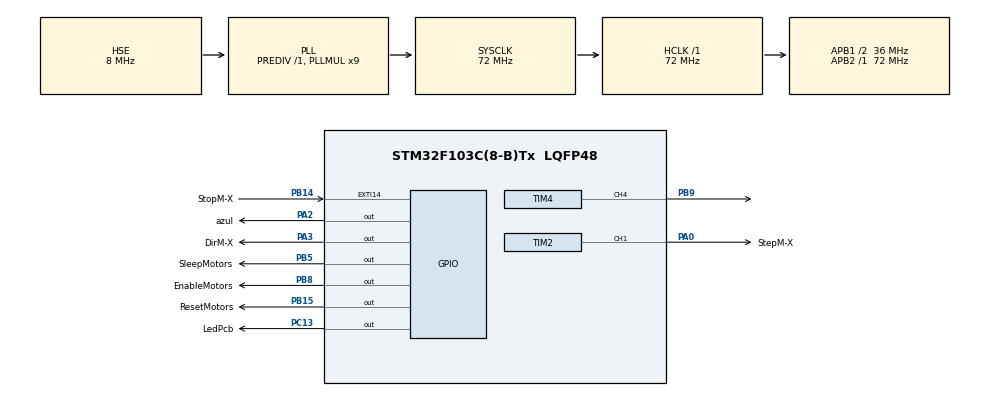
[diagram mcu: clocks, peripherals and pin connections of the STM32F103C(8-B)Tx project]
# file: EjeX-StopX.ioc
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Mcu.Family=STM32F1
Mcu.Name=STM32F103C(8-B)Tx
Mcu.Package=LQFP48
NVIC.EXTI15_10_IRQn=true\:0\:0\:false\:false\:true\:true\:true\:true
NVIC.PriorityGroup=NVIC_PRIORITYGROUP_4
NVIC.TIM2_IRQn=true\:0\:0\:false\:false\:true\:true\:true\:true
NVIC.TIM3_IRQn=true\:0\:0\:false\:false\:true\:true\:true\:true
PA0-WKUP.GPIO_Label=StepM-X
PA0-WKUP.Signal=S_TIM2_CH1_ETR
PA13.Mode=Serial_Wire
PA13.Signal=SYS_JTMS-SWDIO
PA14.Mode=Serial_Wire
PA14.Signal=SYS_JTCK-SWCLK
PA2.GPIO_Label=azul
PA2.Signal=GPIO_Output
PA3.GPIO_Label=DirM-X
PA3.Signal=GPIO_Output
PB14.GPIO_Label=StopM-X
PB14.Signal=GPXTI14
PB15.GPIO_Label=ResetMotors
PB15.Signal=GPIO_Output
PB5.GPIO_Label=SleepMotors
PB5.Signal=GPIO_Output
PB8.GPIO_Label=EnableMotors
PB8.Signal=GPIO_Output
PB9.Signal=S_TIM4_CH4
PC13-TAMPER-RTC.GPIO_Label=LedPcb
PC13-TAMPER-RTC.Signal=GPIO_Output
PC14-OSC32_IN.Mode=LSE-External-Oscillator
PC14-OSC32_IN.Signal=RCC_OSC32_IN
PC15-OSC32_OUT.Mode=LSE-External-Oscillator
PC15-OSC32_OUT.Signal=RCC_OSC32_OUT
PD0-OSC_IN.Mode=HSE-External-Oscillator
PD0-OSC_IN.Signal=RCC_OSC_IN
PD1-OSC_OUT.Mode=HSE-External-Oscillator
PD1-OSC_OUT.Signal=RCC_OSC_OUT
ProjectManager.HeapSize=0x200
ProjectManager.StackSize=0x400
ProjectManager.TargetToolchain=STM32CubeIDE
RCC.AHBFreq_Value=72000000
RCC.APB1CLKDivider=RCC_HCLK_DIV2
RCC.APB1Freq_Value=36000000
RCC.APB1TimFreq_Value=72000000
RCC.APB2Freq_Value=72000000
RCC.APB2TimFreq_Value=72000000
RCC.HCLKFreq_Value=72000000
RCC.PLLMUL=RCC_PLL_MUL9
RCC.PLLSourceVirtual=RCC_PLLSOURCE_HSE
RCC.SYSCLKFreq_VALUE=72000000
RCC.SYSCLKSource=RCC_SYSCLKSOURCE_PLLCLK
RCC.USBFreq_Value=72000000
SH.S_TIM2_CH1_ETR.0=TIM2_CH1,PWM Generation1 CH1
SH.S_TIM4_CH4.0=TIM4_CH4,PWM Generation4 CH4
TIM2.AutoReloadPreload=TIM_AUTORELOAD_PRELOAD_ENABLE
TIM2.Channel-PWM\ Generation1\ CH1=TIM_CHANNEL_1
TIM2.OC1Preload_PWM=DISABLE
TIM2.OCMode_PWM-PWM\ Generation1\ CH1=TIM_OCMODE_PWM1
TIM2.Period=10000
TIM2.Prescaler=71
TIM2.Pulse-PWM\ Generation1\ CH1=5000
TIM3.Period=2000
TIM3.Prescaler=35999
TIM4.Channel-PWM\ Generation4\ CH4=TIM_CHANNEL_4
TIM4.Period=9999
TIM4.Prescaler=71
TIM4.Pulse-PWM\ Generation4\ CH4=5000
VP_TIM2_VS_ClockSourceINT.Mode=Internal
VP_TIM3_VS_ClockSourceINT.Mode=Internal
VP_TIM4_VS_ClockSourceINT.Mode=Internal
board=custom

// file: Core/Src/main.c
/* USER CODE BEGIN Header */
/**
  ******************************************************************************
  * @file           : main.c
  * @brief          : Main program body
  ******************************************************************************
  * @attention
  *
  * Copyright (c) 2023 STMicroelectronics.
  * All rights reserved.
  *
  * This software is licensed under terms that can be found in the LICENSE file
  * in the root directory of this software component.
  * If no LICENSE file comes with this software, it is provided AS-IS.
  *
  ******************************************************************************
  */
/* USER CODE END Header */
#include "main.h"

TIM_HandleTypeDef htim2;
TIM_HandleTypeDef htim3;
TIM_HandleTypeDef htim4;

/* USER CODE BEGIN PV */

uint32_t velMotor1 = 0;
uint16_t thetaMotor1 = 0;
// uint32_t adcVal;					// Arreglo para guardar los valores leidos del conversor ADC
uint32_t counter = 0;

/* USER CODE END PV */

void SystemClock_Config(void);
static void MX_GPIO_Init(void);
static void MX_TIM2_Init(void);
static void MX_TIM3_Init(void);
static void MX_TIM4_Init(void);
/* USER CODE BEGIN PFP */

// void HAL_TIM_PeriodElapsedCallback(TIM_HandleTypeDef *htim);		// Función para el manejo de interrupciones del Timer 2
// void EXTI9_5_IRQHandler(void);		// Función para manejo de la interrupciones externas por fin de carrera
// void HAL_ADC_ConvCpltCallback(ADC_HandleTypeDef *hadc);

/* USER CODE END PFP */

int main(void)
{

  /* MCU Configuration--------------------------------------------------------*/

  /* Reset of all peripherals, Initializes the Flash interface and the Systick. */
  HAL_Init();

  /* Configure the system clock */
  SystemClock_Config();

  /* Initialize all configured peripherals */
  MX_GPIO_Init();
  MX_TIM2_Init();
  MX_TIM3_Init();
  MX_TIM4_Init();
  /* USER CODE BEGIN 2 */

  HAL_TIM_Base_Start_IT(&htim3);
  HAL_TIM_PWM_Start(&htim2, TIM_OCMODE_PWM1);
  HAL_TIM_Base_Start(&htim2);			// Iniciar el temporizador con interrupción

  TIM2->ARR = 15000;
  TIM2->CCR1 = 7500;

  TIM4->ARR = 9999;
  TIM4->CCR4 = 5000;

  HAL_TIM_PWM_Start(&htim4, TIM_CHANNEL_4);
  HAL_TIM_Base_Start_IT(&htim4);			// Iniciar el temporizador con interrupción

  HAL_Delay(1000);

  /* USER CODE END 2 */

  /* Infinite loop */
  /* USER CODE BEGIN WHILE */
  while (1)
  {
	  int miCcr = 0;  // Inicializamos el valor del CCR1 en 0
	  HAL_TIM_PWM_Start(&htim2, TIM_CHANNEL_1);  // Iniciamos la generación de PWM en el canal 1
	  HAL_TIM_PWM_Start(&htim4, TIM_CHANNEL_4);
	  for (int var = 0; var <= 100; var = var + 10)
	  {
	    miCcr = (10000 * var) / 100;
	    TIM4->CCR4 = miCcr;
	    TIM2->CCR1 = miCcr;
	    HAL_Delay(1000);
	  }
	    TIM4->CCR4 = 0;
	    TIM2->CCR1 = 0;
	  HAL_TIM_PWM_Stop(&htim2, TIM_CHANNEL_1);  // Detenemos la generación de PWM en el canal 1
	  HAL_TIM_PWM_Stop(&htim4, TIM_CHANNEL_4);
	  HAL_GPIO_TogglePin(DirM_X_GPIO_Port, DirM_X_Pin);
	  HAL_Delay(1000);
    /* USER CODE END WHILE */

  }
}

void SystemClock_Config(void)
{
  RCC_OscInitTypeDef RCC_OscInitStruct = {0};
  RCC_ClkInitTypeDef RCC_ClkInitStruct = {0};

  /** Initializes the RCC Oscillators according to the specified parameters
  * in the RCC_OscInitTypeDef structure.
  */
  RCC_OscInitStruct.OscillatorType = RCC_OSCILLATORTYPE_HSE;
  RCC_OscInitStruct.HSEState = RCC_HSE_ON;
  RCC_OscInitStruct.HSEPredivValue = RCC_HSE_PREDIV_DIV1;
  RCC_OscInitStruct.HSIState = RCC_HSI_ON;
  RCC_OscInitStruct.PLL.PLLState = RCC_PLL_ON;
  RCC_OscInitStruct.PLL.PLLSource = RCC_PLLSOURCE_HSE;
  RCC_OscInitStruct.PLL.PLLMUL = RCC_PLL_MUL9;
  if (HAL_RCC_OscConfig(&RCC_OscInitStruct) != HAL_OK)
  {
    Error_Handler();
  }

  /** Initializes the CPU, AHB and APB buses clocks
  */
  RCC_ClkInitStruct.ClockType = RCC_CLOCKTYPE_HCLK|RCC_CLOCKTYPE_SYSCLK
                              |RCC_CLOCKTYPE_PCLK1|RCC_CLOCKTYPE_PCLK2;
  RCC_ClkInitStruct.SYSCLKSource = RCC_SYSCLKSOURCE_PLLCLK;
  RCC_ClkInitStruct.AHBCLKDivider = RCC_SYSCLK_DIV1;
  RCC_ClkInitStruct.APB1CLKDivider = RCC_HCLK_DIV2;
  RCC_ClkInitStruct.APB2CLKDivider = RCC_HCLK_DIV1;

  if (HAL_RCC_ClockConfig(&RCC_ClkInitStruct, FLASH_LATENCY_2) != HAL_OK)
  {
    Error_Handler();
  }
}

static void MX_TIM2_Init(void)
{

  TIM_ClockConfigTypeDef sClockSourceConfig = {0};
  TIM_MasterConfigTypeDef sMasterConfig = {0};
  TIM_OC_InitTypeDef sConfigOC = {0};

  htim2.Instance = TIM2;
  htim2.Init.Prescaler = 71;
  htim2.Init.CounterMode = TIM_COUNTERMODE_UP;
  htim2.Init.Period = 10000;
  htim2.Init.ClockDivision = TIM_CLOCKDIVISION_DIV1;
  htim2.Init.AutoReloadPreload = TIM_AUTORELOAD_PRELOAD_ENABLE;
  if (HAL_TIM_Base_Init(&htim2) != HAL_OK)
  {
    Error_Handler();
  }
  sClockSourceConfig.ClockSource = TIM_CLOCKSOURCE_INTERNAL;
  if (HAL_TIM_ConfigClockSource(&htim2, &sClockSourceConfig) != HAL_OK)
  {
    Error_Handler();
  }
  if (HAL_TIM_PWM_Init(&htim2) != HAL_OK)
  {
    Error_Handler();
  }
  sMasterConfig.MasterOutputTrigger = TIM_TRGO_RESET;
  sMasterConfig.MasterSlaveMode = TIM_MASTERSLAVEMODE_DISABLE;
  if (HAL_TIMEx_MasterConfigSynchronization(&htim2, &sMasterConfig) != HAL_OK)
  {
    Error_Handler();
  }
  sConfigOC.OCMode = TIM_OCMODE_PWM1;
  sConfigOC.Pulse = 5000;
  sConfigOC.OCPolarity = TIM_OCPOLARITY_HIGH;
  sConfigOC.OCFastMode = TIM_OCFAST_DISABLE;
  if (HAL_TIM_PWM_ConfigChannel(&htim2, &sConfigOC, TIM_CHANNEL_1) != HAL_OK)
  {
    Error_Handler();
  }
  __HAL_TIM_DISABLE_OCxPRELOAD(&htim2, TIM_CHANNEL_1);
  HAL_TIM_MspPostInit(&htim2);

}

static void MX_TIM3_Init(void)
{

  TIM_ClockConfigTypeDef sClockSourceConfig = {0};
  TIM_MasterConfigTypeDef sMasterConfig = {0};

  htim3.Instance = TIM3;
  htim3.Init.Prescaler = 35999;
  htim3.Init.CounterMode = TIM_COUNTERMODE_UP;
  htim3.Init.Period = 2000;
  htim3.Init.ClockDivision = TIM_CLOCKDIVISION_DIV1;
  htim3.Init.AutoReloadPreload = TIM_AUTORELOAD_PRELOAD_DISABLE;
  if (HAL_TIM_Base_Init(&htim3) != HAL_OK)
  {
    Error_Handler();
  }
  sClockSourceConfig.ClockSource = TIM_CLOCKSOURCE_INTERNAL;
  if (HAL_TIM_ConfigClockSource(&htim3, &sClockSourceConfig) != HAL_OK)
  {
    Error_Handler();
  }
  sMasterConfig.MasterOutputTrigger = TIM_TRGO_RESET;
  sMasterConfig.MasterSlaveMode = TIM_MASTERSLAVEMODE_DISABLE;
  if (HAL_TIMEx_MasterConfigSynchronization(&htim3, &sMasterConfig) != HAL_OK)
  {
    Error_Handler();
  }

}

static void MX_TIM4_Init(void)
{

  TIM_ClockConfigTypeDef sClockSourceConfig = {0};
  TIM_MasterConfigTypeDef sMasterConfig = {0};
  TIM_OC_InitTypeDef sConfigOC = {0};

  htim4.Instance = TIM4;
  htim4.Init.Prescaler = 71;
  htim4.Init.CounterMode = TIM_COUNTERMODE_UP;
  htim4.Init.Period = 9999;
  htim4.Init.ClockDivision = TIM_CLOCKDIVISION_DIV1;
  htim4.Init.AutoReloadPreload = TIM_AUTORELOAD_PRELOAD_DISABLE;
  if (HAL_TIM_Base_Init(&htim4) != HAL_OK)
  {
    Error_Handler();
  }
  sClockSourceConfig.ClockSource = TIM_CLOCKSOURCE_INTERNAL;
  if (HAL_TIM_ConfigClockSource(&htim4, &sClockSourceConfig) != HAL_OK)
  {
    Error_Handler();
  }
  if (HAL_TIM_PWM_Init(&htim4) != HAL_OK)
  {
    Error_Handler();
  }
  sMasterConfig.MasterOutputTrigger = TIM_TRGO_RESET;
  sMasterConfig.MasterSlaveMode = TIM_MASTERSLAVEMODE_DISABLE;
  if (HAL_TIMEx_MasterConfigSynchronization(&htim4, &sMasterConfig) != HAL_OK)
  {
    Error_Handler();
  }
  sConfigOC.OCMode = TIM_OCMODE_PWM1;
  sConfigOC.Pulse = 5000;
  sConfigOC.OCPolarity = TIM_OCPOLARITY_HIGH;
  sConfigOC.OCFastMode = TIM_OCFAST_DISABLE;
  if (HAL_TIM_PWM_ConfigChannel(&htim4, &sConfigOC, TIM_CHANNEL_4) != HAL_OK)
  {
    Error_Handler();
  }
  HAL_TIM_MspPostInit(&htim4);

}

static void MX_GPIO_Init(void)
{
  GPIO_InitTypeDef GPIO_InitStruct = {0};

  /* GPIO Ports Clock Enable */
  __HAL_RCC_GPIOC_CLK_ENABLE();
  __HAL_RCC_GPIOD_CLK_ENABLE();
  __HAL_RCC_GPIOA_CLK_ENABLE();
  __HAL_RCC_GPIOB_CLK_ENABLE();

  /*Configure GPIO pin Output Level */
  HAL_GPIO_WritePin(LedPcb_GPIO_Port, LedPcb_Pin, GPIO_PIN_RESET);

  /*Configure GPIO pin Output Level */
  HAL_GPIO_WritePin(GPIOA, azul_Pin|DirM_X_Pin, GPIO_PIN_RESET);

  /*Configure GPIO pin Output Level */
  HAL_GPIO_WritePin(GPIOB, ResetMotors_Pin|SleepMotors_Pin|EnableMotors_Pin, GPIO_PIN_RESET);

  /*Configure GPIO pin : LedPcb_Pin */
  GPIO_InitStruct.Pin = LedPcb_Pin;
  GPIO_InitStruct.Mode = GPIO_MODE_OUTPUT_PP;
  GPIO_InitStruct.Pull = GPIO_NOPULL;
  GPIO_InitStruct.Speed = GPIO_SPEED_FREQ_LOW;
  HAL_GPIO_Init(LedPcb_GPIO_Port, &GPIO_InitStruct);

  /*Configure GPIO pins : azul_Pin DirM_X_Pin */
  GPIO_InitStruct.Pin = azul_Pin|DirM_X_Pin;
  GPIO_InitStruct.Mode = GPIO_MODE_OUTPUT_PP;
  GPIO_InitStruct.Pull = GPIO_NOPULL;
  GPIO_InitStruct.Speed = GPIO_SPEED_FREQ_LOW;
  HAL_GPIO_Init(GPIOA, &GPIO_InitStruct);

  /*Configure GPIO pin : StopM_X_Pin */
  GPIO_InitStruct.Pin = StopM_X_Pin;
  GPIO_InitStruct.Mode = GPIO_MODE_IT_RISING;
  GPIO_InitStruct.Pull = GPIO_NOPULL;
  HAL_GPIO_Init(StopM_X_GPIO_Port, &GPIO_InitStruct);

  /*Configure GPIO pins : ResetMotors_Pin SleepMotors_Pin EnableMotors_Pin */
  GPIO_InitStruct.Pin = ResetMotors_Pin|SleepMotors_Pin|EnableMotors_Pin;
  GPIO_InitStruct.Mode = GPIO_MODE_OUTPUT_PP;
  GPIO_InitStruct.Pull = GPIO_NOPULL;
  GPIO_InitStruct.Speed = GPIO_SPEED_FREQ_LOW;
  HAL_GPIO_Init(GPIOB, &GPIO_InitStruct);

  /* EXTI interrupt init*/
  HAL_NVIC_SetPriority(EXTI15_10_IRQn, 0, 0);
  HAL_NVIC_EnableIRQ(EXTI15_10_IRQn);

}

/* USER CODE BEGIN 4 */

// Función de retrollamada (callback) para la interrupción externa EXTI3
void HAL_GPIO_EXTI_Callback(uint16_t GPIO_Pin)
{
	HAL_GPIO_TogglePin(azul_GPIO_Port, azul_Pin);
	/*
	 *
	if (GPIO_Pin == GPIO_PIN_9)
  // if (HAL_GPIO_ReadPin(StopM1_GPIO_Port, StopM1_Pin) == GPIO_PIN_RESET)
  {
    // Se detectó un flanco descendente en PA3, detener el motor
    HAL_TIM_PWM_Stop(&htim2, TIM_CHANNEL_1);  // Detener la generación de la señal PWM en el canal 1
    HAL_GPIO_WritePin(EnableMotor_GPIO_Port, EnableMotor_Pin, GPIO_PIN_SET);
  }
  else
  {
    // Se detectó un flanco ascendente en PA3, reanudar el motor
    HAL_TIM_PWM_Start(&htim2, TIM_CHANNEL_1);  // Iniciar la generación de la señal PWM en el canal 1
    HAL_GPIO_WritePin(EnableMotor_GPIO_Port, EnableMotor_Pin, GPIO_PIN_RESET);
  }

	*/
  HAL_GPIO_EXTI_IRQHandler(StopM_X_Pin);  // Limpiar la bandera de interrupción EXTI3
}

/*
// Función para el callback del conversor ADC
void HAL_ADC_ConvCpltCallback(ADC_HandleTypeDef *hadc)
{
	TIM2->CCR2 = adcVal;
}
*/

// Función de retrollamada (callback) para la interrupción de desbordamiento del temporizador TIM2
void HAL_TIM_PeriodElapsedCallback(TIM_HandleTypeDef *htim)
{
	  if (htim->Instance == TIM2)  // Verificar si la interrupción es del temporizador TIM2
	  {
		  if (counter < 1000)
		  {
			  counter++;
		  }
		  else
		  {
			  counter = 0;
		  }
	  }

	/*
  if (htim->Instance == TIM2)  // Verificar si la interrupción es del temporizador TIM2
  {

    // Mover el motor durante 1 segundo
    if (counter == 0 || counter == 1)
    {
      HAL_TIM_PWM_Start(&htim2, StepM_X_Pin);  // Iniciar la generación de la señal PWM en el canal 1
  	TIM2->CCR1 = 5000;

    }
    // Detener el motor durante 1 segundo
    else if (counter == 500)
    {
    	TIM2->CCR1 = 7500;
    }
    else if (counter == 1000)
    {
    	// TIM2->ARR = 1000;
        TIM2->CCR1 = 3500;
    }
    else if (counter == 2000)
    {
    	// TIM2->ARR = 1000;
        TIM2->CCR1 = 1500;
    }
    else if (counter == 3000)
    {
    	// TIM2->ARR = 1000;
        TIM2->CCR1 = 5000;
    }
    else if (counter == 4000)
    {
      HAL_TIM_PWM_Stop(&htim2, StepM_X_Pin);  // Detener la generación de la señal PWM en el canal 1
    }
    else if (counter == 5000)
    {
      counter = 0;  // Reiniciar el contador para repetir el ciclo
      // HAL_TIM_PWM_Start(&htim2, TIM_CHANNEL_1);  // Iniciar la generación de la señal PWM en el canal 1
      // TIM2->CCR1 = 2500;
    }

    counter++;
  }
*/
  if (htim->Instance == TIM3)  // Verificar si la interrupción es del temporizador TIM3
  {
	  HAL_GPIO_TogglePin(LedPcb_GPIO_Port, LedPcb_Pin);		// Cambia el estado del led PC13 cada vez que salta la interrupción
  }
}

/* USER CODE END 4 */

void Error_Handler(void)
{
  __disable_irq();
  while (1)
  {
  }
}
